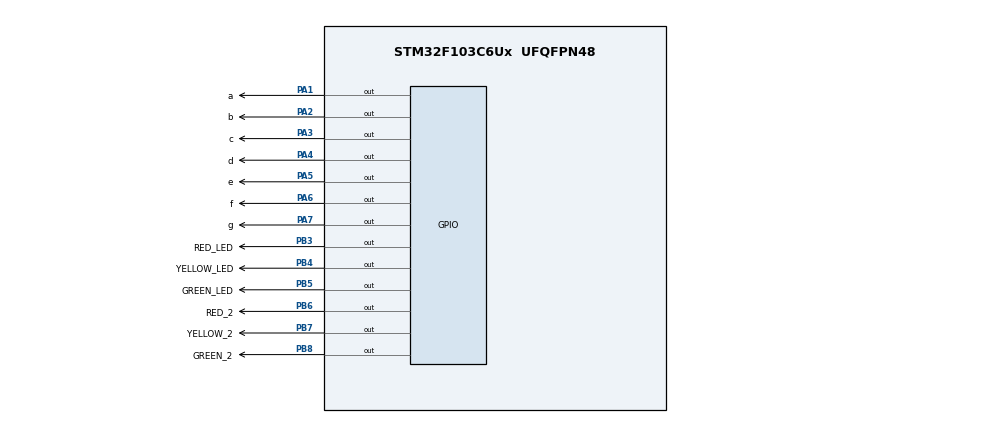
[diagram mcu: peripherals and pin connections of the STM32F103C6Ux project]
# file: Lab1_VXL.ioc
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Mcu.Family=STM32F1
Mcu.Name=STM32F103C6Ux
Mcu.Package=UFQFPN48
NVIC.PriorityGroup=NVIC_PRIORITYGROUP_4
PA1.GPIO_Label=a
PA1.Signal=GPIO_Output
PA2.GPIO_Label=b
PA2.Signal=GPIO_Output
PA3.GPIO_Label=c
PA3.Signal=GPIO_Output
PA4.GPIO_Label=d
PA4.Signal=GPIO_Output
PA5.GPIO_Label=e
PA5.Signal=GPIO_Output
PA6.GPIO_Label=f
PA6.Signal=GPIO_Output
PA7.GPIO_Label=g
PA7.Signal=GPIO_Output
PB3.GPIO_Label=RED_LED
PB3.Signal=GPIO_Output
PB4.GPIO_Label=YELLOW_LED
PB4.Signal=GPIO_Output
PB5.GPIO_Label=GREEN_LED
PB5.Signal=GPIO_Output
PB6.GPIO_Label=RED_2
PB6.Signal=GPIO_Output
PB7.GPIO_Label=YELLOW_2
PB7.Signal=GPIO_Output
PB8.GPIO_Label=GREEN_2
PB8.Signal=GPIO_Output
ProjectManager.HeapSize=0x200
ProjectManager.StackSize=0x400
ProjectManager.TargetToolchain=STM32CubeIDE
RCC.APB1Freq_Value=8000000
RCC.APB2Freq_Value=8000000
board=custom

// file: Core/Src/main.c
/* USER CODE BEGIN Header */
/**
  ******************************************************************************
  * @file           : main.c
  * @brief          : Main program body
  ******************************************************************************
  * @attention
  *
  * Copyright (c) 2023 STMicroelectronics.
  * All rights reserved.
  *
  * This software is licensed under terms that can be found in the LICENSE file
  * in the root directory of this software component.
  * If no LICENSE file comes with this software, it is provided AS-IS.
  *
  ******************************************************************************
  */
/* USER CODE END Header */
#include "main.h"

void SystemClock_Config(void);
static void MX_GPIO_Init(void);

/* USER CODE BEGIN 0 */
void display7SEG(int num)
{
	switch(num)
	{
		case 0:
		{
			  HAL_GPIO_WritePin(GPIOA, a_Pin, RESET);  //0
			  HAL_GPIO_WritePin(GPIOA, b_Pin, RESET);
			  HAL_GPIO_WritePin(GPIOA, c_Pin, RESET);
			  HAL_GPIO_WritePin(GPIOA, d_Pin, RESET);
			  HAL_GPIO_WritePin(GPIOA, e_Pin, RESET);
			  HAL_GPIO_WritePin(GPIOA, f_Pin, RESET);
			  HAL_GPIO_WritePin(GPIOA, g_Pin, SET);
			  break;
		}

		case 1:
		{
			  HAL_GPIO_WritePin(GPIOA, a_Pin, SET);	//1
			  HAL_GPIO_WritePin(GPIOA, b_Pin, RESET);
			  HAL_GPIO_WritePin(GPIOA, c_Pin, RESET);
			  HAL_GPIO_WritePin(GPIOA, d_Pin, SET);
			  HAL_GPIO_WritePin(GPIOA, e_Pin, SET);
			  HAL_GPIO_WritePin(GPIOA, f_Pin, SET);
			  HAL_GPIO_WritePin(GPIOA, g_Pin, SET);
			  break;
		}
		case 2:
		{
			  HAL_GPIO_WritePin(GPIOA, a_Pin, RESET);	//2
			  HAL_GPIO_WritePin(GPIOA, b_Pin, RESET);
			  HAL_GPIO_WritePin(GPIOA, c_Pin, SET);
			  HAL_GPIO_WritePin(GPIOA, d_Pin, RESET);
			  HAL_GPIO_WritePin(GPIOA, e_Pin, RESET);
			  HAL_GPIO_WritePin(GPIOA, f_Pin, SET);
			  HAL_GPIO_WritePin(GPIOA, g_Pin, RESET);
			  break;
		}
		case 3:
		{
			  HAL_GPIO_WritePin(GPIOA, a_Pin, RESET);	//3
			  HAL_GPIO_WritePin(GPIOA, b_Pin, RESET);
			  HAL_GPIO_WritePin(GPIOA, c_Pin, RESET);
			  HAL_GPIO_WritePin(GPIOA, d_Pin, RESET);
			  HAL_GPIO_WritePin(GPIOA, e_Pin, SET);
			  HAL_GPIO_WritePin(GPIOA, f_Pin, SET);
			  HAL_GPIO_WritePin(GPIOA, g_Pin, RESET);
			  break;
		}
		case 4:
		{
			  HAL_GPIO_WritePin(GPIOA, a_Pin, SET);	//4
			  HAL_GPIO_WritePin(GPIOA, b_Pin, RESET);
			  HAL_GPIO_WritePin(GPIOA, c_Pin, RESET);
			  HAL_GPIO_WritePin(GPIOA, d_Pin, SET);
			  HAL_GPIO_WritePin(GPIOA, e_Pin, SET);
			  HAL_GPIO_WritePin(GPIOA, f_Pin, RESET);
			  HAL_GPIO_WritePin(GPIOA, g_Pin, RESET);
			  break;
		}
		case 5:
		{
			  HAL_GPIO_WritePin(GPIOA, a_Pin, RESET);	//5
			  HAL_GPIO_WritePin(GPIOA, b_Pin, SET);
			  HAL_GPIO_WritePin(GPIOA, c_Pin, RESET);
			  HAL_GPIO_WritePin(GPIOA, d_Pin, RESET);
			  HAL_GPIO_WritePin(GPIOA, e_Pin, SET);
			  HAL_GPIO_WritePin(GPIOA, f_Pin, RESET);
			  HAL_GPIO_WritePin(GPIOA, g_Pin, RESET);
			  break;
		}
		case 6:
		{
			  HAL_GPIO_WritePin(GPIOA, a_Pin, RESET);	//6
			  HAL_GPIO_WritePin(GPIOA, b_Pin, SET);
			  HAL_GPIO_WritePin(GPIOA, c_Pin, RESET);
			  HAL_GPIO_WritePin(GPIOA, d_Pin, RESET);
			  HAL_GPIO_WritePin(GPIOA, e_Pin, RESET);
			  HAL_GPIO_WritePin(GPIOA, f_Pin, RESET);
			  HAL_GPIO_WritePin(GPIOA, g_Pin, RESET);
			  break;
		}
		case 7:
		{
			  HAL_GPIO_WritePin(GPIOA, a_Pin, RESET);	//7
			  HAL_GPIO_WritePin(GPIOA, b_Pin, RESET);
			  HAL_GPIO_WritePin(GPIOA, c_Pin, RESET);
			  HAL_GPIO_WritePin(GPIOA, d_Pin, SET);
			  HAL_GPIO_WritePin(GPIOA, e_Pin, SET);
			  HAL_GPIO_WritePin(GPIOA, f_Pin, SET);
			  HAL_GPIO_WritePin(GPIOA, g_Pin, SET);
			  break;
		}
		case 8:
		{
			  HAL_GPIO_WritePin(GPIOA, a_Pin, RESET);	//8
			  HAL_GPIO_WritePin(GPIOA, b_Pin, RESET);
			  HAL_GPIO_WritePin(GPIOA, c_Pin, RESET);
			  HAL_GPIO_WritePin(GPIOA, d_Pin, RESET);
			  HAL_GPIO_WritePin(GPIOA, e_Pin, RESET);
			  HAL_GPIO_WritePin(GPIOA, f_Pin, RESET);
			  HAL_GPIO_WritePin(GPIOA, g_Pin, RESET);
			  break;
		}
		case 9:
		{
			  HAL_GPIO_WritePin(GPIOA, a_Pin, RESET);	//9
			  HAL_GPIO_WritePin(GPIOA, b_Pin, RESET);
			  HAL_GPIO_WritePin(GPIOA, c_Pin, RESET);
			  HAL_GPIO_WritePin(GPIOA, d_Pin, RESET);
			  HAL_GPIO_WritePin(GPIOA, e_Pin, SET);
			  HAL_GPIO_WritePin(GPIOA, f_Pin, RESET);
			  HAL_GPIO_WritePin(GPIOA, g_Pin, RESET);
			  break;
		}
	}
}
/* USER CODE END 0 */

int main(void)
{

  /* MCU Configuration--------------------------------------------------------*/

  /* Reset of all peripherals, Initializes the Flash interface and the Systick. */
  HAL_Init();

  /* Configure the system clock */
  SystemClock_Config();

  /* Initialize all configured peripherals */
  MX_GPIO_Init();

  /* Infinite loop */
  /* USER CODE BEGIN WHILE */
  int status_count_ver = 10;
  int status_count_hor = 10;
  while (1)
  {
	  if (status_count_ver <= 10 && status_count_ver > 5)
	  {
		  HAL_GPIO_WritePin(GPIOB, RED_LED_Pin, SET);
		  HAL_GPIO_WritePin(GPIOB, YELLOW_LED_Pin, RESET);
		  HAL_GPIO_WritePin(GPIOB, GREEN_LED_Pin, RESET);
		  display7SEG(status_count_ver - 5);
		  status_count_ver--;
	  }
	  else if (status_count_ver <= 5 && status_count_ver > 2)
	  {
		  HAL_GPIO_WritePin(GPIOB, RED_LED_Pin, RESET);
		  HAL_GPIO_WritePin(GPIOB, YELLOW_LED_Pin, RESET);
		  HAL_GPIO_WritePin(GPIOB, GREEN_LED_Pin, SET);
		  display7SEG(status_count_ver - 2);
		  status_count_ver--;
	  }
	  else if (status_count_ver <= 2 && status_count_ver > 0)
	  {
		  HAL_GPIO_WritePin(GPIOB, RED_LED_Pin, RESET);
		  HAL_GPIO_WritePin(GPIOB, YELLOW_LED_Pin, SET);
		  HAL_GPIO_WritePin(GPIOB, GREEN_LED_Pin, RESET);
		  display7SEG(status_count_ver);
		  status_count_ver--;
	  }

	  if (status_count_hor <= 10 && status_count_hor > 7)
	  {
		  HAL_GPIO_WritePin(GPIOB, RED_2_Pin, RESET);
		  HAL_GPIO_WritePin(GPIOB, YELLOW_2_Pin, RESET);
		  HAL_GPIO_WritePin(GPIOB, GREEN_2_Pin, SET);
		  status_count_hor--;
	  }
	  else if (status_count_hor <= 7 && status_count_hor > 5)
	  {
		  HAL_GPIO_WritePin(GPIOB, RED_2_Pin, RESET);
		  HAL_GPIO_WritePin(GPIOB, YELLOW_2_Pin, SET);
		  HAL_GPIO_WritePin(GPIOB, GREEN_2_Pin, RESET);
		  status_count_hor--;
	  }
	  else if (status_count_hor <= 5 && status_count_hor > 0)
	  {
		  HAL_GPIO_WritePin(GPIOB, RED_2_Pin, SET);
		  HAL_GPIO_WritePin(GPIOB, YELLOW_2_Pin, RESET);
		  HAL_GPIO_WritePin(GPIOB, GREEN_2_Pin, RESET);
		  status_count_hor--;
	  }
	  if (status_count_hor == 0)
		  status_count_hor = 10;
	  if (status_count_ver == 0)
		  status_count_ver = 10;

	  HAL_Delay(1000);

    /* USER CODE END WHILE */

  }
}

void SystemClock_Config(void)
{
  RCC_OscInitTypeDef RCC_OscInitStruct = {0};
  RCC_ClkInitTypeDef RCC_ClkInitStruct = {0};

  /** Initializes the RCC Oscillators according to the specified parameters
  * in the RCC_OscInitTypeDef structure.
  */
  RCC_OscInitStruct.OscillatorType = RCC_OSCILLATORTYPE_HSI;
  RCC_OscInitStruct.HSIState = RCC_HSI_ON;
  RCC_OscInitStruct.HSICalibrationValue = RCC_HSICALIBRATION_DEFAULT;
  RCC_OscInitStruct.PLL.PLLState = RCC_PLL_NONE;
  if (HAL_RCC_OscConfig(&RCC_OscInitStruct) != HAL_OK)
  {
    Error_Handler();
  }

  /** Initializes the CPU, AHB and APB buses clocks
  */
  RCC_ClkInitStruct.ClockType = RCC_CLOCKTYPE_HCLK|RCC_CLOCKTYPE_SYSCLK
                              |RCC_CLOCKTYPE_PCLK1|RCC_CLOCKTYPE_PCLK2;
  RCC_ClkInitStruct.SYSCLKSource = RCC_SYSCLKSOURCE_HSI;
  RCC_ClkInitStruct.AHBCLKDivider = RCC_SYSCLK_DIV1;
  RCC_ClkInitStruct.APB1CLKDivider = RCC_HCLK_DIV1;
  RCC_ClkInitStruct.APB2CLKDivider = RCC_HCLK_DIV1;

  if (HAL_RCC_ClockConfig(&RCC_ClkInitStruct, FLASH_LATENCY_0) != HAL_OK)
  {
    Error_Handler();
  }
}

static void MX_GPIO_Init(void)
{
  GPIO_InitTypeDef GPIO_InitStruct = {0};

  /* GPIO Ports Clock Enable */
  __HAL_RCC_GPIOA_CLK_ENABLE();
  __HAL_RCC_GPIOB_CLK_ENABLE();

  /*Configure GPIO pin Output Level */
  HAL_GPIO_WritePin(GPIOA, a_Pin|b_Pin|c_Pin|d_Pin
                          |e_Pin|f_Pin|g_Pin, GPIO_PIN_RESET);

  /*Configure GPIO pin Output Level */
  HAL_GPIO_WritePin(GPIOB, RED_LED_Pin|YELLOW_LED_Pin|GREEN_LED_Pin|RED_2_Pin
                          |YELLOW_2_Pin|GREEN_2_Pin, GPIO_PIN_RESET);

  /*Configure GPIO pins : a_Pin b_Pin c_Pin d_Pin
                           e_Pin f_Pin g_Pin */
  GPIO_InitStruct.Pin = a_Pin|b_Pin|c_Pin|d_Pin
                          |e_Pin|f_Pin|g_Pin;
  GPIO_InitStruct.Mode = GPIO_MODE_OUTPUT_PP;
  GPIO_InitStruct.Pull = GPIO_NOPULL;
  GPIO_InitStruct.Speed = GPIO_SPEED_FREQ_LOW;
  HAL_GPIO_Init(GPIOA, &GPIO_InitStruct);

  /*Configure GPIO pins : RED_LED_Pin YELLOW_LED_Pin GREEN_LED_Pin RED_2_Pin
                           YELLOW_2_Pin GREEN_2_Pin */
  GPIO_InitStruct.Pin = RED_LED_Pin|YELLOW_LED_Pin|GREEN_LED_Pin|RED_2_Pin
                          |YELLOW_2_Pin|GREEN_2_Pin;
  GPIO_InitStruct.Mode = GPIO_MODE_OUTPUT_PP;
  GPIO_InitStruct.Pull = GPIO_NOPULL;
  GPIO_InitStruct.Speed = GPIO_SPEED_FREQ_LOW;
  HAL_GPIO_Init(GPIOB, &GPIO_InitStruct);

}

void Error_Handler(void)
{
  __disable_irq();
  while (1)
  {
  }
}
